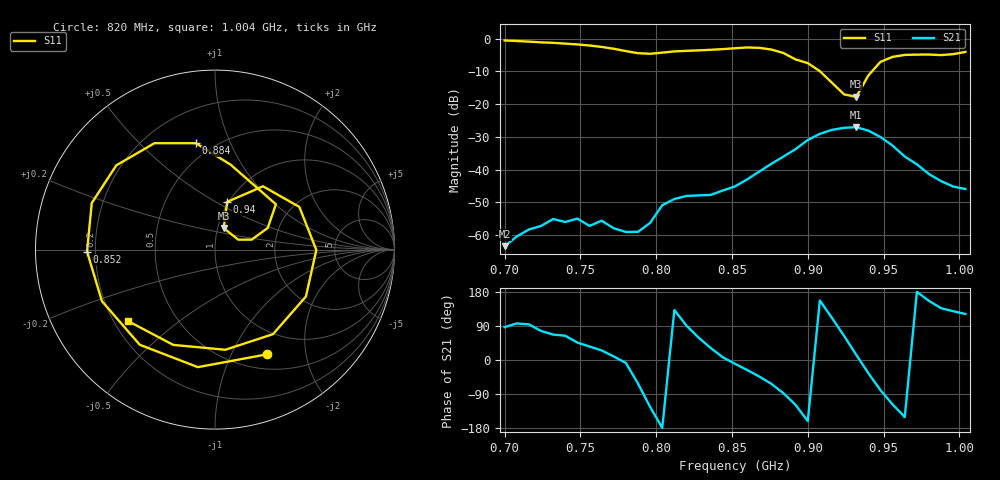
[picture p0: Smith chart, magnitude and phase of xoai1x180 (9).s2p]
# Hz S RI R 50
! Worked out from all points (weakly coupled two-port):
!   39 points, 700 MHz to 1.004 GHz, reference 50 ohm
!   highest |S21| = -27.06 dB at 932 MHz (marker M1); lowest = -63.4 dB at 700 MHz (marker M2)
!   lowest |S11| = -17.8 dB at 932 MHz (marker M3), VSWR 1.30, Z = 53.4 + j13 ohm
!   |S11| at or under -10 dB: 908.1 MHz to 942.4 MHz (34.27 MHz wide, 3.7 % of centre)
!   S12 and S22 are empty: the file has one direction only
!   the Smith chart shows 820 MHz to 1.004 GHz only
!   S11 on the Smith chart (normalised r, x): 820 MHz: 0.68, -1.38; 852 MHz: 0.17, -0.01; 884 MHz: 0.40, +0.75; 940 MHz: 0.98, +0.57; 1.004 GHz: 0.26, -0.34
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7e8  0.7615 0.5485  3.83e-05 0.000674  0 0  0 0
7.24e8  0.8419 -0.2486  0.000314 0.00134  0 0  0 0
7.4e8  0.4608 -0.7012  0.000693 0.00142  0 0  0 0
7.56e8  -0.1885 -0.7631  0.00112 0.000802  0 0  0 0
7.72e8  -0.6701 -0.2059  0.00125 0.000206  0 0  0 0
7.8e8  -0.6052 0.223  0.0011 -0.00015  0 0  0 0
7.88e8  -0.2582 0.5416  0.000523 -0.000989  0 0  0 0
7.96e8  0.2352 0.5381  -0.000855 -0.00127  0 0  0 0
8.04e8  0.5814 0.1895  -0.00285 -4.13e-05  0 0  0 0
8.2e8  0.2894 -0.5835  -3.8e-05 0.00396  0 0  0 0
8.36e8  -0.4192 -0.5302  0.0035 0.00214  0 0  0 0
8.52e8  -0.7129 -0.0106  0.00545 -0.000955  0 0  0 0
8.68e8  -0.5498 0.4696  0.00674 -0.00643  0 0  0 0
8.84e8  -0.1069 0.5928  0.000635 -0.0158  0 0  0 0
9e8  0.3391 0.2528  -0.0267 -0.00916  0 0  0 0
9.08e8  0.2941 0.1209  -0.0323 0.0137  0 0  0 0
9.32e8  0.0483 0.1198  0.0431 0.0104  0 0  0 0
9.4e8  0.068 0.2658  0.0323 -0.0224  0 0  0 0
9.56e8  0.4702 0.2375  -0.0106 -0.0206  0 0  0 0
9.64e8  0.5645 -0.00215  -0.0138 -0.00775  0 0  0 0
9.8e8  0.3233 -0.4711  -0.00779 0.00348  0 0  0 0
1.004e9  -0.4847 -0.3982  -0.00264 0.0043  0 0  0 0
